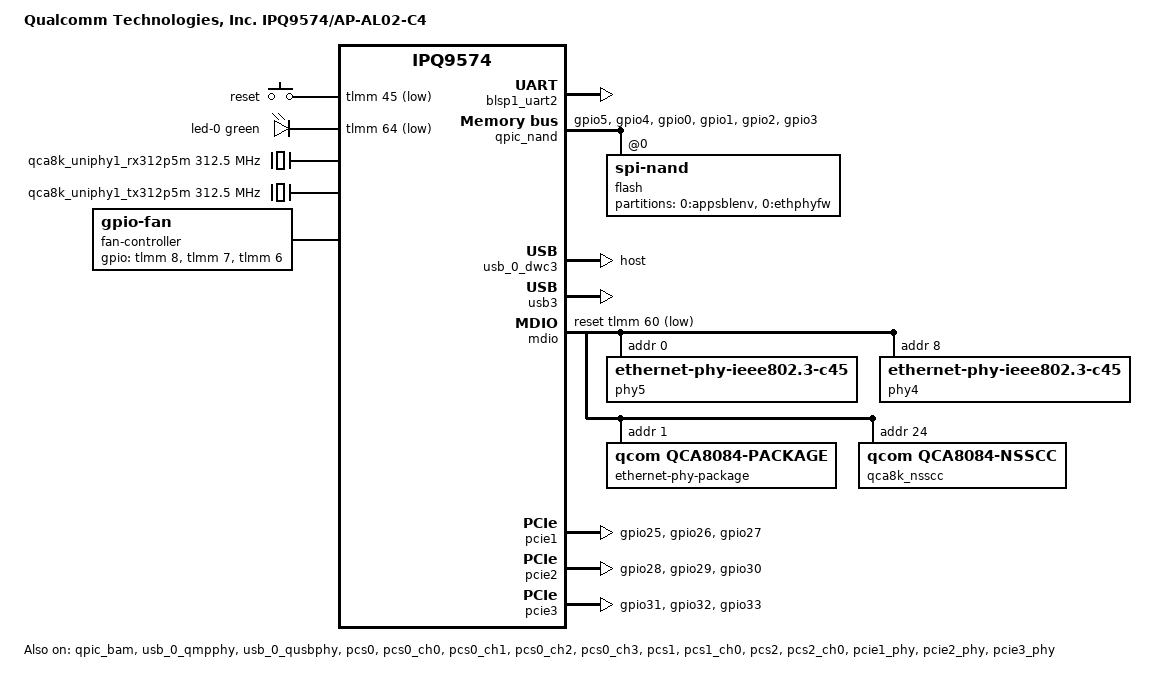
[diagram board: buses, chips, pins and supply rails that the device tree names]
// SPDX-License-Identifier: (GPL-2.0+ OR BSD-3-Clause)
/*
* IPQ9574 AL02-C4 board device tree source
*
* Copyright (c) 2020-2021 The Linux Foundation. All rights reserved.
* Copyright (c) 2021-2022 Qualcomm Innovation Center, Inc. All rights reserved.
*/

/dts-v1/;

#include <dt-bindings/gpio/gpio.h>
#include <dt-bindings/input/input.h>
#include <dt-bindings/leds/common.h>
#include <dt-bindings/clock/qcom,qca8k-nsscc.h>
#include <dt-bindings/net/qcom,qca808x.h>
#include <dt-bindings/reset/qcom,qca8k-nsscc.h>
#include "ipq9574.dtsi"

/ {
	model = "Qualcomm Technologies, Inc. IPQ9574/AP-AL02-C4";
	compatible = "qcom,ipq9574-ap-al02-c4", "qcom,ipq9574";

	aliases {
		ethernet0 = &swport5;
		label-mac-device = &swport5;
		serial0 = &blsp1_uart2;
	};

	chosen {
		stdout-path = "serial0:115200n8";
	};

	gpio-keys {
		compatible = "gpio-keys";
		pinctrl-0 = <&gpio_keys_default>;
		pinctrl-names = "default";

		button-reset {
			label = "reset";
			linux,code = <KEY_RESTART>;
			gpios = <&tlmm 45 GPIO_ACTIVE_LOW>;
		};
	};

	leds {
		compatible = "gpio-leds";
		pinctrl-0 = <&gpio_leds_default>;
		pinctrl-names = "default";

		led-0 {
			color = <LED_COLOR_ID_GREEN>;
			function = LED_FUNCTION_WLAN;
			gpios = <&tlmm 64 GPIO_ACTIVE_LOW>;
			linux,default-trigger = "phy0tx";
			default-state = "off";
		};
	};

	clocks {
		qca8k_uniphy1_rx312p5m: qca8k-uniphy1-rx312p5m {
			compatible = "fixed-clock";
			clock-frequency = <312500000>;
			#clock-cells = <0>;
		};

		qca8k_uniphy1_tx312p5m: qca8k-uniphy1-tx312p5m {
			compatible = "fixed-clock";
			clock-frequency = <312500000>;
			#clock-cells = <0>;
		};

		usb3phy_0_cc_pipe_clk: usb3phy_0_cc_pipe_clk {
			compatible = "fixed-clock";
			clock-frequency = <125000000>;
			#clock-cells = <0>;
		};
	};

	fan-controller {
		compatible = "gpio-fan";
		pinctrl-names = "default";
		pinctrl-0 = <&fan_pins_default>;

		/*
		* The controller handles two RS4010B12M-FA 12V/0.08A DC fans
		* in parallel.
		*
		* +-------+-------+-------+-------+
		* | GPIO6 | GPIO7 | GPIO8 |  RPM  |
		* +-------+-------+-------+-------+
		* |   L   |   L   |   L   | ~7000 |
		* |   L   |   L   |   H   | ~5500 |
		* |   L   |   H   |   L   | ~4500 |
		* |   L   |   H   |   H   | ~3500 |
		* |   H   |  ---  |  ---  |     0 |
		* +-------+-------+-------+-------+
		*/
		gpio-fan,speed-map = <   0 7>, <   0 6>, <   0 5>, <   0 4>,
					<3500 3>, <4500 2>, <5500 1>, <7000 0>;
		gpios = <&tlmm 8 GPIO_ACTIVE_HIGH>,
			<&tlmm 7 GPIO_ACTIVE_HIGH>,
			<&tlmm 6 GPIO_ACTIVE_HIGH>;

		#cooling-cells = <2>;
	};

	reserved-memory {
		pcie1@50f00000 {
			no-map;
			reg = <0x0 0x50F00000 0x0 0x03200000>;
		};

		pcie2@54100000 {
			no-map;
			reg = <0x0 0x54100000 0x0 0x03200000>;
		};

		pcie3@57300000 {
			no-map;
			reg = <0x0 0x57300000 0x0 0x03200000>;
		};

		mhi_region0: dma_pool0@0 {
			compatible = "shared-dma-pool";
			no-map;
			size = <0x0 0x00F00000>;
		};

		mhi_region1: dma_pool1@1 {
			compatible = "shared-dma-pool";
			no-map;
			size = <0x0 0x00F00000>;
		};

		mhi_region2: dma_pool2@2 {
			compatible = "shared-dma-pool";
			no-map;
			size = <0x0 0x00F00000>;
		};

		mhi_region3: dma_pool3@3 {
			compatible = "shared-dma-pool";
			no-map;
			size = <0x0 0x00F00000>;
		};

		mlo_global_mem0: mlo_global_mem_0@0 {
			no-map;
			size = <0x0 0x1100000>;
		};
	};
};

&blsp1_uart2 {
	pinctrl-0 = <&uart2_pins>;
	pinctrl-names = "default";
	status = "okay";
};

&rpm_requests {
	regulators {
		compatible = "qcom,rpm-mp5496-regulators";

		ipq9574_s1: s1 {
		/*
		* During kernel bootup, the SoC runs at 800MHz with 875mV set by the bootloaders.
		* During regulator registration, kernel not knowing the initial voltage,
		* considers it as zero and brings up the regulators with minimum supported voltage.
		* Update the regulator-min-microvolt with SVS voltage of 725mV so that
		* the regulators are brought up with 725mV which is sufficient for all the
		* corner parts to operate at 800MHz
		*/
			regulator-min-microvolt = <725000>;
			regulator-max-microvolt = <1075000>;
		};

		mp5496_l2: l2 {
			regulator-min-microvolt = <1800000>;
			regulator-max-microvolt = <1800000>;
			regulator-always-on;
			regulator-boot-on;
		};

		mp5496_l5: l5 {
			regulator-min-microvolt = <1800000>;
			regulator-max-microvolt = <1800000>;
			regulator-always-on;
			regulator-boot-on;
		};
	};
};

&sleep_clk {
	clock-frequency = <32000>;
};

&tlmm {
	spi_0_pins: spi-0-state {
		pins = "gpio11", "gpio12", "gpio13", "gpio14";
		function = "blsp0_spi";
		drive-strength = <8>;
		bias-disable;
	};

	gpio_keys_default: gpio-keys-default-state {
		pins = "gpio37";
		function = "gpio";
		drive-strength = <8>;
		bias-pull-up;
	};

	gpio_leds_default: gpio-leds-default-state {
		pins = "gpio64";
		function = "gpio";
		drive-strength = <8>;
		bias-pull-up;
	};

	qpic_snand_default_state: qpic-snand-default-state {
		clock-pins {
			pins = "gpio5";
			function = "qspi_clk";
			drive-strength = <8>;
			bias-disable;
		};

		cs-pins {
			pins = "gpio4";
			function = "qspi_cs";
			drive-strength = <8>;
			bias-disable;
		};

		data-pins {
			pins = "gpio0", "gpio1", "gpio2", "gpio3";
			function = "qspi_data";
			drive-strength = <8>;
			bias-disable;
		};
	};

	fan_pins_default: fan-pins-default-state {
		control-pins {
			pins = "gpio6", "gpio7", "gpio8";
			function = "gpio";
			drive-strength = <8>;
			bias-disable;
		};
	};

	pcie1_default: pcie1-default-state {
		clkreq-n-pins {
			pins = "gpio25";
			function = "pcie1_clk";
			drive-strength = <6>;
			bias-pull-up;
		};

		perst-n-pins {
			pins = "gpio26";
			function = "gpio";
			drive-strength = <8>;
			bias-pull-down;
			output-low;
		};

		wake-n-pins {
			pins = "gpio27";
			function = "pcie1_wake";
			drive-strength = <6>;
			bias-pull-up;
		};
	};

	pcie2_default: pcie2-default-state {
		clkreq-n-pins {
			pins = "gpio28";
			function = "pcie2_clk";
			drive-strength = <6>;
			bias-pull-up;
		};

		perst-n-pins {
			pins = "gpio29";
			function = "gpio";
			drive-strength = <8>;
			bias-pull-down;
			output-low;
		};

		wake-n-pins {
			pins = "gpio30";
			function = "pcie2_wake";
			drive-strength = <6>;
			bias-pull-up;
		};
	};

	pcie3_default: pcie3-default-state {
		clkreq-n-pins {
			pins = "gpio31";
			function = "pcie3_clk";
			drive-strength = <6>;
			bias-pull-up;
		};

		perst-n-pins {
			pins = "gpio32";
			function = "gpio";
			drive-strength = <8>;
			bias-pull-up;
			output-low;
		};

		wake-n-pins {
			pins = "gpio33";
			function = "pcie3_wake";
			drive-strength = <6>;
			bias-pull-up;
		};
	};
};

&qpic_bam {
	status = "okay";
};

&qpic_nand {
	pinctrl-0 = <&qpic_snand_default_state>;
	pinctrl-names = "default";
	status = "okay";

	flash@0 {
		compatible = "spi-nand";
		reg = <0>;
		#address-cells = <1>;
		#size-cells = <1>;
		nand-ecc-engine = <&qpic_nand>;
		nand-ecc-strength = <4>;
		nand-ecc-step-size = <512>;

		partitions {
			compatible = "qcom,smem-part";

			partition-0-appsblenv {
				label = "0:appsblenv";
				read-only;

				nvmem-layout {
					compatible = "fixed-layout";
					#address-cells = <1>;
					#size-cells = <1>;

					ethaddr: ethaddr {
						compatible = "mac-base";
						#nvmem-cell-cells = <1>;
						reg = <0x36 0x6>;
					};
				};
			};

			partition-0-ethphyfw {
				label = "0:ethphyfw";
				read-only;

				nvmem-layout {
					compatible = "fixed-layout";
					#address-cells = <1>;
					#size-cells = <1>;

					aqr_fw: aqr-fw@0 {
						reg = <0x0 0x60002>;
					};
				};
			};
		};
	};
};

&usb_0_dwc3 {
	dr_mode = "host";
};

&usb_0_qmpphy {
	status = "okay";
};

&usb_0_qusbphy {
	status = "okay";
};

&usb3 {
	status = "okay";
};

/*
* The bootstrap pins for the board select the XO clock frequency
* (48 MHZ or 96 MHZ used for different RDP type board). This setting
* automatically enables the right dividers, to ensure the reference
* clock output from WiFi to the CMN PLL is 48 MHZ.
*/
&ref_48mhz_clk {
	clock-div = <1>;
	clock-mult = <1>;
};

/*
* The frequency of xo_board_clk is fixed to 24 MHZ, which is routed
* from WiFi output clock 48 MHZ divided by 2.
*/
&xo_board_clk {
	clock-div = <2>;
	clock-mult = <1>;
};

&xo_clk {
	clock-frequency = <48000000>;
};

&pcs0 {
	status = "okay";
};

&pcs0_ch0 {
	clocks = <&nsscc NSS_CC_UNIPHY_PORT1_RX_CLK>,
			<&nsscc NSS_CC_UNIPHY_PORT1_TX_CLK>;
	clock-names = "rx",
				"tx";
	status = "okay";
};

&pcs0_ch1 {
	clocks = <&nsscc NSS_CC_UNIPHY_PORT2_RX_CLK>,
			<&nsscc NSS_CC_UNIPHY_PORT2_TX_CLK>;
	clock-names = "rx",
				"tx";
	status = "okay";
};

&pcs0_ch2 {
	clocks = <&nsscc NSS_CC_UNIPHY_PORT3_RX_CLK>,
			<&nsscc NSS_CC_UNIPHY_PORT3_TX_CLK>;
	clock-names = "rx",
				"tx";
	status = "okay";
};

&pcs0_ch3 {
	clocks = <&nsscc NSS_CC_UNIPHY_PORT4_RX_CLK>,
			<&nsscc NSS_CC_UNIPHY_PORT4_TX_CLK>;
	clock-names = "rx",
				"tx";
	status = "okay";
};

&pcs1 {
	status = "okay";
};

&pcs1_ch0 {
	clocks = <&nsscc NSS_CC_UNIPHY_PORT5_RX_CLK>,
			<&nsscc NSS_CC_UNIPHY_PORT5_TX_CLK>;
	clock-names = "rx",
				"tx";
	status = "okay";
};

&pcs2{
	status = "okay";
};

&pcs2_ch0 {
	clocks = <&nsscc NSS_CC_UNIPHY_PORT6_RX_CLK>,
			<&nsscc NSS_CC_UNIPHY_PORT6_TX_CLK>;
	clock-names = "rx",
				"tx";
	status = "okay";
};

&qcom_ppe {
	ethernet-ports {
		#address-cells = <1>;
		#size-cells = <0>;

		swport3: port@3 {
			reg = <3>;
			label = "lan2";
			nvmem-cells = <&ethaddr 2>;
			nvmem-cell-names = "mac-address";
			phy-mode = "10g-qxgmii";
			phy-handle = <&phy2>;
			pcs-handle = <&pcs0_ch2>;
			clocks = <&nsscc NSS_CC_PORT3_MAC_CLK>,
				<&nsscc NSS_CC_PORT3_RX_CLK>,
				<&nsscc NSS_CC_PORT3_TX_CLK>;
			clock-names = "mac",
					"rx",
					"tx";
			resets = <&nsscc PORT3_MAC_ARES>,
				<&nsscc PORT3_RX_ARES>,
				<&nsscc PORT3_TX_ARES>;
			reset-names = "mac",
					"rx",
					"tx";
		};

		swport4: port@4 {
			reg = <4>;
			label = "lan1";
			nvmem-cells = <&ethaddr 1>;
			nvmem-cell-names = "mac-address";
			phy-mode = "10g-qxgmii";
			phy-handle = <&phy3>;
			pcs-handle = <&pcs0_ch3>;
			clocks = <&nsscc NSS_CC_PORT4_MAC_CLK>,
				<&nsscc NSS_CC_PORT4_RX_CLK>,
				<&nsscc NSS_CC_PORT4_TX_CLK>;
			clock-names = "mac",
					"rx",
					"tx";
			resets = <&nsscc PORT4_MAC_ARES>,
				<&nsscc PORT4_RX_ARES>,
				<&nsscc PORT4_TX_ARES>;
			reset-names = "mac",
					"rx",
					"tx";
		};

		swport5: port@5 {
			reg = <5>;
			label = "wan";
			nvmem-cells = <&ethaddr 0>;
			nvmem-cell-names = "mac-address";
			phy-mode = "usxgmii";
			managed = "in-band-status";
			phy-handle = <&phy4>;
			pcs-handle = <&pcs1_ch0>;
			clocks = <&nsscc NSS_CC_PORT5_MAC_CLK>,
				<&nsscc NSS_CC_PORT5_RX_CLK>,
				<&nsscc NSS_CC_PORT5_TX_CLK>;
			clock-names = "mac",
					"rx",
					"tx";
			resets = <&nsscc PORT5_MAC_ARES>,
				<&nsscc PORT5_RX_ARES>,
				<&nsscc PORT5_TX_ARES>;
			reset-names = "mac",
					"rx",
					"tx";
		};

		swport6: port@6 {
			reg = <6>;
			label = "lan3";
			nvmem-cells = <&ethaddr 3>;
			nvmem-cell-names = "mac-address";
			phy-mode = "usxgmii";
			managed = "in-band-status";
			phy-handle = <&phy5>;
			pcs-handle = <&pcs2_ch0>;
			clocks = <&nsscc NSS_CC_PORT6_MAC_CLK>,
				<&nsscc NSS_CC_PORT6_RX_CLK>,
				<&nsscc NSS_CC_PORT6_TX_CLK>;
			clock-names = "mac",
					"rx",
					"tx";
			resets = <&nsscc PORT6_MAC_ARES>,
				<&nsscc PORT6_RX_ARES>,
				<&nsscc PORT6_TX_ARES>;
			reset-names = "mac",
					"rx",
					"tx";
		};
	};
};

&mdio {
	/*gpio60 for malibu reset, gpio36 for both aqr reset reserved */
	reset-gpios = <&tlmm 60 GPIO_ACTIVE_LOW>;
	clock-frequency = <6250000>;
	reset-delay-us = <500000>;
	reset-post-delay-us = <500000>;
	status = "okay";

	phy5: ethernet-phy@0 {
		compatible ="ethernet-phy-ieee802.3-c45";
		clocks = <&cmn_pll ETH1_50MHZ_CLK>;
		reg = <0>;
		firmware-name = "lib/phy_fw/AQR-G4_v5.6.7-AQR_Marvell_NoSwap_USX_ID44858_VER1922.cld";
		nvmem-cells = <&aqr_fw>;
		nvmem-cell-names = "firmware";
		marvell,mdi-cfg-order = <1>;
	};

	phy4: ethernet-phy@8 {
		compatible ="ethernet-phy-ieee802.3-c45";
		clocks = <&cmn_pll ETH1_50MHZ_CLK>;
		reg = <8>;
		firmware-name = "lib/phy_fw/AQR-G4_v5.6.7-AQR_Marvell_NoSwap_USX_ID44858_VER1922.cld";
		nvmem-cells = <&aqr_fw>;
		nvmem-cell-names = "firmware";
		marvell,mdi-cfg-order = <0>;
	};

	ethernet-phy-package@1 {
		#address-cells = <1>;
		#size-cells = <0>;
		compatible = "qcom,qca8084-package";
		reg = <1>;
		clocks = <&qca8k_nsscc NSS_CC_APB_BRIDGE_CLK>,
					<&qca8k_nsscc NSS_CC_AHB_CLK>,
					<&qca8k_nsscc NSS_CC_SEC_CTRL_AHB_CLK>,
					<&qca8k_nsscc NSS_CC_TLMM_CLK>,
					<&qca8k_nsscc NSS_CC_TLMM_AHB_CLK>,
					<&qca8k_nsscc NSS_CC_CNOC_AHB_CLK>,
					<&qca8k_nsscc NSS_CC_MDIO_AHB_CLK>;
		clock-names = "apb_bridge",
						"ahb",
						"sec_ctrl_ahb",
						"tlmm",
						"tlmm_ahb",
						"cnoc_ahb",
						"mdio_ahb";
		qcom,package-mode = <QCA808X_PCS1_10G_QXGMII_PCS0_UNUNSED>;
		resets = <&qca8k_nsscc NSS_CC_GEPHY_FULL_ARES>;
		qcom,phy-addr-fixup = <1 2 3 4 5 6 7>;

		phy0: ethernet-phy@1 {
			compatible = "ethernet-phy-id004d.d180";
			reg = <1>;
			clocks = <&qca8k_nsscc NSS_CC_GEPHY0_SYS_CLK>;
			resets = <&qca8k_nsscc NSS_CC_GEPHY0_SYS_ARES>;
			qcom,xpcs-channel = <0>;
		};

		phy1: ethernet-phy@2 {
			compatible = "ethernet-phy-id004d.d180";
			reg = <2>;
			clocks = <&qca8k_nsscc NSS_CC_GEPHY1_SYS_CLK>;
			resets = <&qca8k_nsscc NSS_CC_GEPHY1_SYS_ARES>;
			qcom,xpcs-channel = <1>;
		};

		phy2: ethernet-phy@3 {
			compatible = "ethernet-phy-id004d.d180";
			reg = <3>;
			clocks = <&qca8k_nsscc NSS_CC_GEPHY2_SYS_CLK>;
			resets = <&qca8k_nsscc NSS_CC_GEPHY2_SYS_ARES>;
			qcom,xpcs-channel = <2>;
		};

		phy3: ethernet-phy@4 {
			compatible = "ethernet-phy-id004d.d180";
			reg = <4>;
			clocks = <&qca8k_nsscc NSS_CC_GEPHY3_SYS_CLK>;
			resets = <&qca8k_nsscc NSS_CC_GEPHY3_SYS_ARES>;
			qcom,xpcs-channel = <3>;
		};

		pcs-phy@6 {
			compatible = "qcom,qca8k-pcs-phy";
			reg = <6>;
			clocks = <&qca8k_nsscc NSS_CC_SRDS1_SYS_CLK>,
						<&qca8k_uniphy1_tx312p5m>,
						<&qca8k_uniphy1_rx312p5m>;
			clock-names = "pcs", "pcs_rx_root", "pcs_tx_root";
			resets = <&qca8k_nsscc NSS_CC_SRDS1_SYS_ARES>;
		};

		xpcs-phy@7 {
			compatible = "qcom,qca8k-xpcs-phy";
			reg = <7>;
			#address-cells = <1>;
			#size-cells = <0>;
			resets = <&qca8k_nsscc NSS_CC_XPCS_ARES>;

			channel@0 {
				reg = <0>;
				clocks = <&qca8k_nsscc NSS_CC_MAC1_SRDS1_CH0_XGMII_TX_CLK>,
							<&qca8k_nsscc NSS_CC_MAC1_SRDS1_CH0_XGMII_RX_CLK>,
							<&qca8k_nsscc NSS_CC_MAC1_SRDS1_CH0_TX_CLK>,
							<&qca8k_nsscc NSS_CC_MAC1_SRDS1_CH0_RX_CLK>,
							<&qca8k_nsscc NSS_CC_MAC1_GEPHY0_RX_CLK>,
							<&qca8k_nsscc NSS_CC_MAC1_GEPHY0_TX_CLK>,
							<&qca8k_nsscc NSS_CC_MAC1_RX_CLK_SRC>,
							<&qca8k_nsscc NSS_CC_MAC1_TX_CLK_SRC>;
				clock-names = "xgmii_rx",
								"xgmii_tx",
								"xpcs_rx",
								"xpcs_tx",
								"port_rx",
								"port_tx",
								"rx_src",
								"tx_src";
				resets = <&qca8k_nsscc NSS_CC_MAC1_SRDS1_CH0_XGMII_TX_ARES>,
							<&qca8k_nsscc NSS_CC_MAC1_SRDS1_CH0_XGMII_RX_ARES>,
							<&qca8k_nsscc NSS_CC_MAC1_SRDS1_CH0_TX_ARES>,
							<&qca8k_nsscc NSS_CC_MAC1_SRDS1_CH0_RX_ARES>,
							<&qca8k_nsscc NSS_CC_MAC1_GEPHY0_RX_ARES>,
							<&qca8k_nsscc NSS_CC_MAC1_GEPHY0_TX_ARES>;
				reset-names = "xgmii_rx",
								"xgmii_tx",
								"xpcs_rx",
								"xpcs_tx",
								"port_rx",
								"port_tx";
			};

			channel@1 {
				reg = <1>;
				clocks = <&qca8k_nsscc NSS_CC_MAC2_SRDS1_CH1_XGMII_TX_CLK>,
							<&qca8k_nsscc NSS_CC_MAC2_SRDS1_CH1_XGMII_RX_CLK>,
							<&qca8k_nsscc NSS_CC_MAC2_SRDS1_CH1_TX_CLK>,
							<&qca8k_nsscc NSS_CC_MAC2_SRDS1_CH1_RX_CLK>,
							<&qca8k_nsscc NSS_CC_MAC2_GEPHY1_RX_CLK>,
							<&qca8k_nsscc NSS_CC_MAC2_GEPHY1_TX_CLK>,
							<&qca8k_nsscc NSS_CC_MAC2_RX_CLK_SRC>,
							<&qca8k_nsscc NSS_CC_MAC2_TX_CLK_SRC>;
				clock-names = "xgmii_rx",
								"xgmii_tx",
								"xpcs_rx",
								"xpcs_tx",
								"port_rx",
								"port_tx",
								"rx_src",
								"tx_src";
				resets = <&qca8k_nsscc NSS_CC_MAC2_SRDS1_CH1_XGMII_TX_ARES>,
							<&qca8k_nsscc NSS_CC_MAC2_SRDS1_CH1_XGMII_RX_ARES>,
							<&qca8k_nsscc NSS_CC_MAC2_SRDS1_CH1_TX_ARES>,
							<&qca8k_nsscc NSS_CC_MAC2_SRDS1_CH1_RX_ARES>,
							<&qca8k_nsscc NSS_CC_MAC2_GEPHY1_RX_ARES>,
							<&qca8k_nsscc NSS_CC_MAC2_GEPHY1_TX_ARES>;
				reset-names = "xgmii_rx",
								"xgmii_tx",
								"xpcs_rx",
								"xpcs_tx",
								"port_rx",
								"port_tx";
			};

			channel@2 {
				reg = <2>;
				clocks = <&qca8k_nsscc NSS_CC_MAC3_SRDS1_CH2_XGMII_TX_CLK>,
							<&qca8k_nsscc NSS_CC_MAC3_SRDS1_CH2_XGMII_RX_CLK>,
							<&qca8k_nsscc NSS_CC_MAC3_SRDS1_CH2_TX_CLK>,
							<&qca8k_nsscc NSS_CC_MAC3_SRDS1_CH2_RX_CLK>,
							<&qca8k_nsscc NSS_CC_MAC3_GEPHY2_RX_CLK>,
							<&qca8k_nsscc NSS_CC_MAC3_GEPHY2_TX_CLK>,
							<&qca8k_nsscc NSS_CC_MAC3_RX_CLK_SRC>,
							<&qca8k_nsscc NSS_CC_MAC3_TX_CLK_SRC>;
				clock-names = "xgmii_rx",
								"xgmii_tx",
								"xpcs_rx",
								"xpcs_tx",
								"port_rx",
								"port_tx",
								"rx_src",
								"tx_src";
				resets = <&qca8k_nsscc NSS_CC_MAC3_SRDS1_CH2_XGMII_TX_ARES>,
							<&qca8k_nsscc NSS_CC_MAC3_SRDS1_CH2_XGMII_RX_ARES>,
							<&qca8k_nsscc NSS_CC_MAC3_SRDS1_CH2_TX_ARES>,
							<&qca8k_nsscc NSS_CC_MAC3_SRDS1_CH2_RX_ARES>,
							<&qca8k_nsscc NSS_CC_MAC3_GEPHY2_RX_ARES>,
							<&qca8k_nsscc NSS_CC_MAC3_GEPHY2_TX_ARES>;
				reset-names = "xgmii_rx",
								"xgmii_tx",
								"xpcs_rx",
								"xpcs_tx",
								"port_rx",
								"port_tx";
			};

			channel@3 {
				reg = <3>;
				clocks = <&qca8k_nsscc NSS_CC_MAC4_SRDS1_CH3_XGMII_TX_CLK>,
							<&qca8k_nsscc NSS_CC_MAC4_SRDS1_CH3_XGMII_RX_CLK>,
							<&qca8k_nsscc NSS_CC_MAC4_SRDS1_CH3_TX_CLK>,
							<&qca8k_nsscc NSS_CC_MAC4_SRDS1_CH3_RX_CLK>,
							<&qca8k_nsscc NSS_CC_MAC4_GEPHY3_RX_CLK>,
							<&qca8k_nsscc NSS_CC_MAC4_GEPHY3_TX_CLK>,
							<&qca8k_nsscc NSS_CC_MAC4_RX_CLK_SRC>,
							<&qca8k_nsscc NSS_CC_MAC4_TX_CLK_SRC>;
				clock-names = "xgmii_rx",
								"xgmii_tx",
								"xpcs_rx",
								"xpcs_tx",
								"port_rx",
								"port_tx",
								"rx_src",
								"tx_src";
				resets = <&qca8k_nsscc NSS_CC_MAC4_SRDS1_CH3_XGMII_TX_ARES>,
							<&qca8k_nsscc NSS_CC_MAC4_SRDS1_CH3_XGMII_RX_ARES>,
							<&qca8k_nsscc NSS_CC_MAC4_SRDS1_CH3_TX_ARES>,
							<&qca8k_nsscc NSS_CC_MAC4_SRDS1_CH3_RX_ARES>,
							<&qca8k_nsscc NSS_CC_MAC4_GEPHY3_RX_ARES>,
							<&qca8k_nsscc NSS_CC_MAC4_GEPHY3_TX_ARES>;
				reset-names = "xgmii_rx",
								"xgmii_tx",
								"xpcs_rx",
								"xpcs_tx",
								"port_rx",
								"port_tx";
			};
		};
	};

	qca8k_nsscc: qca8k-nsscc@18 {
		compatible = "qcom,qca8084-nsscc";
		reg = <0x18>;
		#clock-cells = <1>;
		#reset-cells = <1>;
		clocks = <&cmn_pll ETH0_50MHZ_CLK>,
			<0>,
			<0>,
			<0>,
			<0>,
			<&qca8k_uniphy1_rx312p5m>,
			<&qca8k_uniphy1_tx312p5m>;
	};
};

&pcie1_phy {
	status = "okay";
};

&pcie1 {
	pinctrl-0 = <&pcie1_default>;
	pinctrl-names = "default";

	perst-gpios = <&tlmm 26 GPIO_ACTIVE_LOW>;
	wake-gpios = <&tlmm 27 GPIO_ACTIVE_LOW>;
	status = "okay";
};

&pcie2_phy {
	status = "okay";
};

&pcie2 {
	pinctrl-0 = <&pcie2_default>;
	pinctrl-names = "default";

	perst-gpios = <&tlmm 29 GPIO_ACTIVE_LOW>;
	wake-gpios = <&tlmm 30 GPIO_ACTIVE_LOW>;
	status = "okay";
};

&pcie3_phy {
	status = "okay";
};

&pcie3 {
	pinctrl-0 = <&pcie3_default>;
	pinctrl-names = "default";

	perst-gpios = <&tlmm 32 GPIO_ACTIVE_LOW>;
	wake-gpios = <&tlmm 33 GPIO_ACTIVE_LOW>;
	status = "okay";
};
